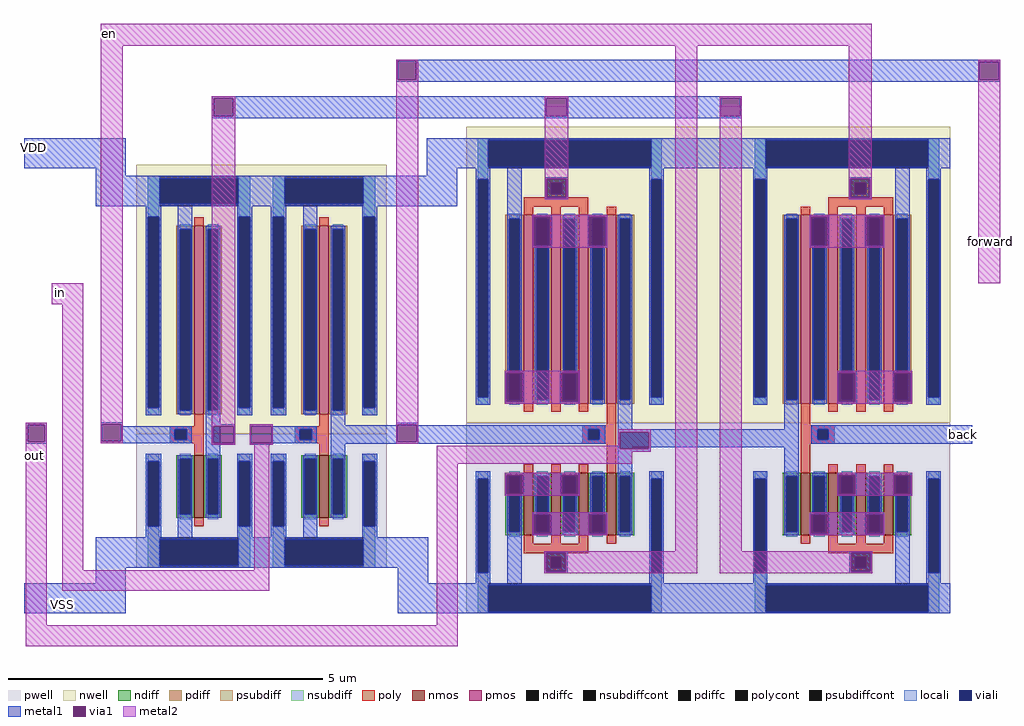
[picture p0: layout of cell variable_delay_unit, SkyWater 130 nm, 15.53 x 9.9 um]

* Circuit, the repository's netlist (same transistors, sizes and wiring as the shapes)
* NGSPICE file created from variable_delay_unit.ext - technology: sky130A

.subckt sky130_fd_pr__nfet_01v8_6H9P4D a_n73_n100# a_15_n100# a_n15_n126# VSUBS
X0 a_15_n100# a_n15_n126# a_n73_n100# VSUBS sky130_fd_pr__nfet_01v8 ad=0.29 pd=2.58 as=0.29 ps=2.58 w=1 l=0.15
**devattr s=11600,516 d=11600,516
.ends

.subckt sky130_fd_pr__pfet_01v8_2K9SAN a_n73_n300# w_n109_n362# a_15_n300# a_n15_n326#
X0 a_15_n300# a_n15_n326# a_n73_n300# w_n109_n362# sky130_fd_pr__pfet_01v8 ad=0.87 pd=6.58 as=0.87 ps=6.58 w=3 l=0.15
**devattr s=34800,1316 d=34800,1316
.ends

.subckt inverter_3_1 w_30_230# m1_250_162# sky130_fd_pr__pfet_01v8_2K9SAN_0/VSUBS
+ a_136_200#
Xsky130_fd_pr__nfet_01v8_6H9P4D_0 sky130_fd_pr__pfet_01v8_2K9SAN_0/VSUBS m1_250_162#
+ a_136_200# sky130_fd_pr__pfet_01v8_2K9SAN_0/VSUBS sky130_fd_pr__nfet_01v8_6H9P4D
Xsky130_fd_pr__pfet_01v8_2K9SAN_0 w_30_230# w_30_230# m1_250_162# a_136_200# sky130_fd_pr__pfet_01v8_2K9SAN
.ends

.subckt tristate_inverter in en nen out VDD VSS
Xsky130_fd_pr__nfet_01v8_6H9P4D_0 VSS m1_930_270# en VSS sky130_fd_pr__nfet_01v8_6H9P4D
Xsky130_fd_pr__nfet_01v8_6H9P4D_1 m1_930_270# VSS en VSS sky130_fd_pr__nfet_01v8_6H9P4D
Xsky130_fd_pr__pfet_01v8_2K9SAN_0 VDD VDD m1_930_1186# nen sky130_fd_pr__pfet_01v8_2K9SAN
Xsky130_fd_pr__nfet_01v8_6H9P4D_2 VSS m1_930_270# en VSS sky130_fd_pr__nfet_01v8_6H9P4D
Xsky130_fd_pr__pfet_01v8_2K9SAN_1 m1_930_1186# VDD VDD nen sky130_fd_pr__pfet_01v8_2K9SAN
Xsky130_fd_pr__nfet_01v8_6H9P4D_3 m1_930_270# out in VSS sky130_fd_pr__nfet_01v8_6H9P4D
Xsky130_fd_pr__pfet_01v8_2K9SAN_2 VDD VDD m1_930_1186# nen sky130_fd_pr__pfet_01v8_2K9SAN
Xsky130_fd_pr__pfet_01v8_2K9SAN_3 m1_930_1186# VDD out in sky130_fd_pr__pfet_01v8_2K9SAN
.ends

.subckt variable_delay_unit in en back forward out VDD VSS
Xinverter_3_1_0 VDD forward VSS in inverter_3_1
Xinverter_3_1_1 VDD tristate_inverter_1/en VSS en inverter_3_1
Xtristate_inverter_0 forward en tristate_inverter_1/en out VDD VSS tristate_inverter
Xtristate_inverter_1 back tristate_inverter_1/en en out VDD VSS tristate_inverter
.ends

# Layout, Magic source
magic
tech sky130A
<< nwell >>
rect 330 303 402 774
<< pwell >>
rect 330 0 402 303
<< metal1 >>
rect -111 879 850 881
rect -111 849 -108 879
rect -79 878 850 879
rect -79 849 817 878
rect 848 849 850 878
rect -111 846 850 849
rect -404 820 439 823
rect -404 791 -401 820
rect -370 791 128 820
rect 161 791 406 820
rect 437 791 439 820
rect -404 788 439 791
rect -703 708 -541 756
rect -589 696 -541 708
rect -62 708 1 756
rect 330 708 402 756
rect -62 696 -14 708
rect -589 648 -524 696
rect -126 648 -14 696
rect -700 300 -667 303
rect -700 273 -697 300
rect -670 273 -667 300
rect -700 270 -667 273
rect -581 301 -546 304
rect -581 274 -579 301
rect -548 298 -546 301
rect -404 298 -367 301
rect -548 274 -471 298
rect -581 271 -471 274
rect -404 271 -402 298
rect -369 271 -367 298
rect -404 268 -367 271
rect -344 298 -307 301
rect -111 300 -76 303
rect -111 299 -109 300
rect -344 271 -342 298
rect -309 271 -272 298
rect -192 273 -109 299
rect -78 299 -76 300
rect -78 273 106 299
rect -344 268 -307 271
rect -192 270 106 273
rect 242 262 245 266
rect 291 262 294 266
rect 330 264 402 293
rect 666 270 806 299
rect 242 257 294 262
rect -589 73 -524 121
rect -126 73 -60 121
rect -589 48 -541 73
rect -703 0 -541 48
rect -108 48 -60 73
rect -108 0 3 48
rect 330 0 402 48
<< via1 >>
rect -108 849 -79 879
rect 817 849 848 878
rect -401 791 -370 820
rect 128 791 161 820
rect 406 791 437 820
rect -697 273 -670 300
rect -579 274 -548 301
rect -402 271 -369 298
rect -342 271 -309 298
rect -109 273 -78 300
rect 245 262 291 288
<< metal2 >>
rect -581 903 646 938
rect -659 492 -609 525
rect -700 300 -667 303
rect -700 273 -697 300
rect -670 273 -667 300
rect -700 -19 -667 273
rect -642 69 -609 492
rect -581 301 -546 903
rect -111 879 -76 881
rect -111 849 -108 879
rect -79 849 -76 879
rect -581 274 -579 301
rect -548 274 -546 301
rect -581 271 -546 274
rect -404 820 -367 823
rect -404 791 -401 820
rect -370 791 -367 820
rect -404 298 -367 791
rect -404 271 -402 298
rect -369 271 -367 298
rect -404 268 -367 271
rect -344 298 -307 301
rect -344 271 -342 298
rect -309 271 -307 298
rect -344 268 -307 271
rect -111 300 -76 849
rect 126 820 163 823
rect 126 791 128 820
rect 161 791 163 820
rect 333 808 368 903
rect 404 820 439 823
rect 126 788 163 791
rect 404 791 406 820
rect 437 791 439 820
rect 609 808 646 903
rect 815 878 850 881
rect 815 849 817 878
rect 848 849 850 878
rect 404 788 439 791
rect 815 525 850 849
rect -111 273 -109 300
rect -78 273 -76 300
rect -111 270 -76 273
rect 242 288 294 293
rect -337 69 -313 268
rect 242 267 245 288
rect -642 36 -313 69
rect -46 262 245 267
rect 291 262 294 288
rect -46 257 294 262
rect -46 238 265 257
rect -46 -19 -13 238
rect -700 -52 -13 -19
use inverter_3_1  inverter_3_1_0
transform 1 0 -340 0 1 171
box 15 -98 214 543
use inverter_3_1  inverter_3_1_1
transform 1 0 -539 0 1 171
box 15 -98 214 543
use tristate_inverter  tristate_inverter_0
transform 1 0 -359 0 1 -11
box 360 11 729 819
use tristate_inverter  tristate_inverter_1
transform -1 0 1131 0 1 -11
box 360 11 729 819
<< labels >>
rlabel metal2 -659 496 -630 525 0 in
port 1 nsew
rlabel metal2 -581 909 -552 938 0 en
port 2 nsew
rlabel metal1 777 270 806 299 0 back
port 3 nsew
rlabel metal2 821 577 850 606 0 forward
port 4 nsew
rlabel metal2 -700 236 -671 265 0 out
port 5 nsew
rlabel metal1 -703 727 -674 756 0 VDD
port 6 nsew
rlabel metal1 -656 0 -627 29 0 VSS
port 7 nsew
<< end >>

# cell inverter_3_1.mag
magic
tech sky130A
magscale 1 2
<< nwell >>
rect 30 954 428 1086
rect 30 230 120 954
rect 338 896 428 954
rect 328 288 428 896
rect 338 230 428 288
<< pwell >>
rect 30 -196 428 230
<< psubdiff >>
rect 66 142 102 166
rect 66 -100 102 -64
rect 356 142 392 166
rect 356 -100 392 -64
rect 66 -196 104 -100
rect 354 -196 392 -100
<< nsubdiff >>
rect 66 954 104 1050
rect 354 954 392 1050
rect 66 920 102 954
rect 66 288 102 312
rect 356 920 392 954
rect 356 288 392 312
<< psubdiffcont >>
rect 66 -64 102 142
rect 356 -64 392 142
rect 104 -196 354 -100
<< nsubdiffcont >>
rect 104 954 354 1050
rect 66 312 102 920
rect 356 312 392 920
<< poly >>
rect 214 254 244 266
rect 136 244 244 254
rect 136 210 152 244
rect 190 210 244 244
rect 136 200 244 210
rect 214 188 244 200
<< polycont >>
rect 152 210 190 244
<< locali >>
rect 66 954 104 1050
rect 354 954 392 1050
rect 66 920 102 954
rect 66 288 102 312
rect 356 920 392 954
rect 356 288 392 312
rect 136 244 206 254
rect 136 210 152 244
rect 190 210 206 244
rect 136 200 206 210
rect 66 142 102 166
rect 66 -100 102 -64
rect 356 142 392 166
rect 356 -100 392 -64
rect 66 -196 104 -100
rect 354 -196 392 -100
<< viali >>
rect 104 962 354 1042
rect 66 312 102 920
rect 356 312 392 920
rect 152 210 190 244
rect 66 -64 102 142
rect 356 -64 392 142
rect 104 -188 354 -108
<< metal1 >>
rect 30 1042 428 1050
rect 30 962 104 1042
rect 354 962 428 1042
rect 30 954 428 962
rect 60 920 108 954
rect 60 312 66 920
rect 102 312 108 920
rect 162 892 208 954
rect 350 920 398 954
rect 60 288 108 312
rect 350 312 356 920
rect 392 312 398 920
rect 136 244 206 254
rect 136 210 152 244
rect 190 210 206 244
rect 136 200 206 210
rect 60 142 108 166
rect 250 162 296 292
rect 350 288 398 312
rect 60 -64 66 142
rect 102 -64 108 142
rect 350 142 398 166
rect 60 -100 108 -64
rect 162 -100 208 -38
rect 350 -64 356 142
rect 392 -64 398 142
rect 350 -100 398 -64
rect 30 -108 428 -100
rect 30 -188 104 -108
rect 354 -188 428 -108
rect 30 -196 428 -188
use sky130_fd_pr__nfet_01v8_6H9P4D  sky130_fd_pr__nfet_01v8_6H9P4D_0
transform 1 0 229 0 1 62
box -73 -126 73 126
use sky130_fd_pr__pfet_01v8_2K9SAN  sky130_fd_pr__pfet_01v8_2K9SAN_0
transform 1 0 229 0 1 592
box -109 -362 109 362
<< end >>

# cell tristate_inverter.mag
magic
tech sky130A
magscale 1 2
<< nwell >>
rect 720 1352 1458 1570
rect 720 628 808 1352
rect 1290 628 1458 1352
<< pwell >>
rect 720 22 1458 628
<< psubdiff >>
rect 756 450 790 474
rect 1308 450 1342 474
rect 756 22 790 152
rect 1308 22 1342 152
<< nsubdiff >>
rect 756 1404 790 1534
rect 1308 1404 1342 1534
rect 756 686 790 710
rect 1308 686 1342 710
<< psubdiffcont >>
rect 756 152 790 450
rect 1308 152 1342 450
rect 790 22 1308 118
<< nsubdiffcont >>
rect 790 1438 1308 1534
rect 756 710 790 1404
rect 1308 710 1342 1404
<< poly >>
rect 970 1392 1044 1404
rect 970 1358 990 1392
rect 1024 1358 1044 1392
rect 970 1346 1044 1358
rect 902 1316 1108 1346
rect 1166 620 1196 664
rect 1088 608 1196 620
rect 1088 574 1108 608
rect 1142 574 1196 608
rect 1088 562 1196 574
rect 1166 496 1196 562
rect 902 214 1108 244
rect 968 202 1042 214
rect 968 168 988 202
rect 1022 168 1042 202
rect 968 156 1042 168
<< polycont >>
rect 990 1358 1024 1392
rect 1108 574 1142 608
rect 988 168 1022 202
<< locali >>
rect 756 1404 790 1534
rect 1308 1404 1342 1534
rect 970 1392 1044 1404
rect 970 1358 990 1392
rect 1024 1358 1044 1392
rect 970 1346 1044 1358
rect 756 686 790 710
rect 1308 686 1342 710
rect 1088 608 1162 620
rect 1088 574 1108 608
rect 1142 574 1162 608
rect 1088 562 1162 574
rect 756 450 790 474
rect 1308 450 1342 474
rect 968 202 1042 214
rect 968 168 988 202
rect 1022 168 1042 202
rect 968 156 1042 168
rect 756 22 790 152
rect 1308 22 1342 152
<< viali >>
rect 790 1444 1308 1528
rect 756 710 790 1404
rect 990 1358 1024 1392
rect 1308 710 1342 1404
rect 1108 574 1142 608
rect 756 152 790 450
rect 988 168 1022 202
rect 1308 152 1342 450
rect 790 28 1308 112
<< metal1 >>
rect 720 1528 1458 1534
rect 720 1444 790 1528
rect 1308 1444 1458 1528
rect 720 1438 1458 1444
rect 750 1404 796 1438
rect 750 710 756 1404
rect 790 710 796 1404
rect 850 1290 896 1438
rect 970 1406 1044 1410
rect 970 1344 976 1406
rect 1038 1344 1044 1406
rect 970 1340 1044 1344
rect 1302 1404 1348 1438
rect 930 1284 992 1290
rect 930 1192 934 1284
rect 988 1192 992 1284
rect 930 1186 992 1192
rect 1106 1284 1168 1290
rect 1106 1192 1110 1284
rect 1164 1192 1168 1284
rect 1106 1186 1168 1192
rect 750 686 796 710
rect 842 788 904 794
rect 842 696 846 788
rect 900 696 904 788
rect 842 690 904 696
rect 1018 788 1080 794
rect 1018 696 1022 788
rect 1076 696 1080 788
rect 1018 690 1080 696
rect 1302 710 1308 1404
rect 1342 710 1348 1404
rect 930 608 1162 620
rect 930 574 1108 608
rect 1142 574 1162 608
rect 930 562 1162 574
rect 1202 608 1248 690
rect 1302 686 1348 710
rect 1202 550 1458 608
rect 750 450 796 474
rect 1202 470 1248 550
rect 750 152 756 450
rect 790 152 796 450
rect 842 464 904 470
rect 842 402 846 464
rect 900 402 904 464
rect 842 396 904 402
rect 1018 464 1080 470
rect 1018 402 1022 464
rect 1076 402 1080 464
rect 1018 396 1080 402
rect 1302 450 1348 474
rect 930 338 992 344
rect 930 276 934 338
rect 988 276 992 338
rect 930 270 992 276
rect 1106 338 1168 344
rect 1106 276 1110 338
rect 1164 276 1168 338
rect 1106 270 1168 276
rect 750 118 796 152
rect 850 118 896 270
rect 968 216 1042 220
rect 968 154 974 216
rect 1036 154 1042 216
rect 968 150 1042 154
rect 1302 152 1308 450
rect 1342 152 1348 450
rect 1302 118 1348 152
rect 720 112 1458 118
rect 720 28 790 112
rect 1308 28 1458 112
rect 720 22 1458 28
<< via1 >>
rect 976 1392 1038 1406
rect 976 1358 990 1392
rect 990 1358 1024 1392
rect 1024 1358 1038 1392
rect 976 1344 1038 1358
rect 934 1192 988 1284
rect 1110 1192 1164 1284
rect 846 696 900 788
rect 1022 696 1076 788
rect 846 402 900 464
rect 1022 402 1076 464
rect 934 276 988 338
rect 1110 276 1164 338
rect 974 202 1036 216
rect 974 168 988 202
rect 988 168 1022 202
rect 1022 168 1036 202
rect 974 154 1036 168
<< metal2 >>
rect 970 1406 1044 1638
rect 970 1344 976 1406
rect 1038 1344 1044 1406
rect 970 1340 1044 1344
rect 930 1284 1168 1290
rect 930 1192 934 1284
rect 988 1192 1110 1284
rect 1164 1192 1168 1284
rect 930 1186 1168 1192
rect 842 788 1080 794
rect 842 696 846 788
rect 900 696 1022 788
rect 1076 696 1080 788
rect 842 690 1080 696
rect 842 464 1080 470
rect 842 402 846 464
rect 900 402 1022 464
rect 1076 402 1080 464
rect 842 396 1080 402
rect 930 338 1168 344
rect 930 276 934 338
rect 988 276 1110 338
rect 1164 276 1168 338
rect 930 270 1168 276
rect 1384 220 1454 1638
rect 968 216 1454 220
rect 968 154 974 216
rect 1036 154 1454 216
rect 968 150 1454 154
use sky130_fd_pr__nfet_01v8_6H9P4D  sky130_fd_pr__nfet_01v8_6H9P4D_0
transform 1 0 917 0 1 370
box -73 -126 73 126
use sky130_fd_pr__nfet_01v8_6H9P4D  sky130_fd_pr__nfet_01v8_6H9P4D_1
transform 1 0 1005 0 1 370
box -73 -126 73 126
use sky130_fd_pr__nfet_01v8_6H9P4D  sky130_fd_pr__nfet_01v8_6H9P4D_2
transform 1 0 1093 0 1 370
box -73 -126 73 126
use sky130_fd_pr__nfet_01v8_6H9P4D  sky130_fd_pr__nfet_01v8_6H9P4D_3
transform 1 0 1181 0 1 370
box -73 -126 73 126
use sky130_fd_pr__pfet_01v8_2K9SAN  sky130_fd_pr__pfet_01v8_2K9SAN_0
transform 1 0 917 0 1 990
box -109 -362 109 362
use sky130_fd_pr__pfet_01v8_2K9SAN  sky130_fd_pr__pfet_01v8_2K9SAN_1
transform 1 0 1005 0 1 990
box -109 -362 109 362
use sky130_fd_pr__pfet_01v8_2K9SAN  sky130_fd_pr__pfet_01v8_2K9SAN_2
transform 1 0 1093 0 1 990
box -109 -362 109 362
use sky130_fd_pr__pfet_01v8_2K9SAN  sky130_fd_pr__pfet_01v8_2K9SAN_3
transform 1 0 1181 0 1 990
box -109 -362 109 362
<< labels >>
rlabel metal1 930 562 988 620 0 in
port 1 nsew
rlabel metal2 1384 1580 1442 1638 0 en
port 2 nsew
rlabel metal2 970 1580 1028 1638 0 nen
port 3 nsew
rlabel metal1 1300 550 1358 608 0 out
port 4 nsew
rlabel metal1 720 1476 778 1534 0 VDD
port 5 nsew
rlabel metal1 720 60 778 118 0 VSS
port 6 nsew
<< end >>

# cell sky130_fd_pr__nfet_01v8_6H9P4D: kit device sky130_fd_pr__nfet_01v8, w 1 l 0.150 m 1 nf 1 diffcov 100 polycov 100 guard 0 glc 1 grc 1 gtc 1 gbc 1 tbcov 100 rlcov 100 topc 0 botc 0 poverlap 0 doverlap 1 lmin 0.15 wmin 0.42 compatible {sky130_fd_pr__nfet_01v8 sky130_fd_pr__nfet_01v8_lvt sky130_fd_bs_flash__special_sonosfet_star sky130_fd_pr__nfet_g5v0d10v5 sky130_fd_pr__nfet_05v0_nvt sky130_fd_pr__nfet_03v3_nvt} full_metal 1 viasrc 100 viadrn 100 viagate 100 viagb 0 viagr 0 viagl 0 viagt 0

# cell sky130_fd_pr__pfet_01v8_2K9SAN: kit device sky130_fd_pr__pfet_01v8, w 3 l 0.15 m 1 nf 1 diffcov 100 polycov 100 guard 0 glc 1 grc 1 gtc 1 gbc 1 tbcov 100 rlcov 100 topc 0 botc 0 poverlap 0 doverlap 1 lmin 0.15 wmin 0.42 compatible {sky130_fd_pr__pfet_01v8 sky130_fd_pr__pfet_01v8_lvt sky130_fd_pr__pfet_01v8_hvt sky130_fd_pr__pfet_g5v0d10v5} full_metal 1 viasrc 100 viadrn 100 viagate 100 viagb 0 viagr 0 viagl 0 viagt 0
